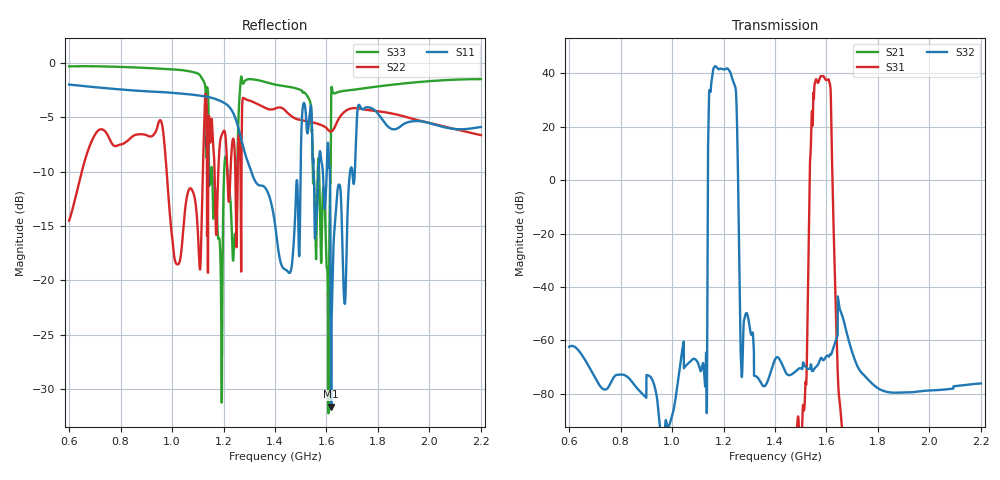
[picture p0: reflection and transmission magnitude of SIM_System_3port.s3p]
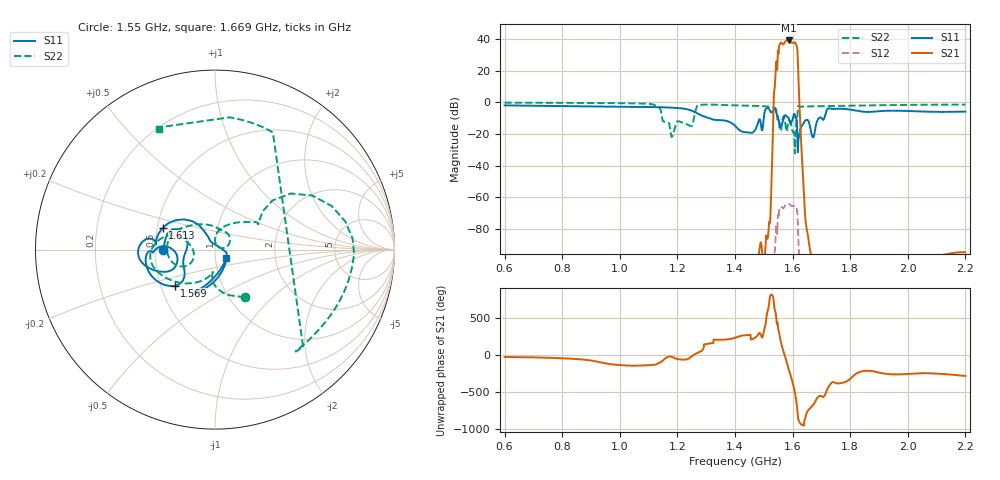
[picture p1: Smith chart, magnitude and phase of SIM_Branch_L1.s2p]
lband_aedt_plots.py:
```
"""Simulator-style plots of the L-band (L1 + L2/L5) results for the internal technical note.
Reads Touchstone/SIM_System_3port.s3p, SIM_Branch_*.s2p, Extracted_Data/results_sweep.csv and the
component Touchstone files; writes Images/lband_*.png.
"""
from pathlib import Path

import numpy as np
import skrf as rf

import models as M
import aedt_style as A

ROOT = Path(__file__).resolve().parent.parent
TS, IMG, XD = ROOT / "Touchstone", ROOT / "Images", ROOT / "Extracted_Data"
DESIGN = "FrontEnd_3port"
SETUP = "SP_0p6_2p2GHz : Sweep"


def db(x):
    return 20 * np.log10(np.abs(x) + 1e-30)


def main():
    s3 = rf.Network(str(TS / "SIM_System_3port.s3p"))
    f = s3.f / 1e9
    s = s3.s
    sw = np.genfromtxt(XD / "results_sweep.csv", delimiter=",", names=True)
    nf1, nf2 = sw["NF_L1_dB"], sw["NF_L2L5_dB"]
    gd1, gd2 = sw["GD_L1_ns"], sw["GD_L2L5_ns"]
    E = {"S31": "dB(S(P3_RF_OUT,P1_L1_RHCP))", "S32": "dB(S(P3_RF_OUT,P2_L2L5_RHCP))",
         "S11": "dB(S(P1_L1_RHCP,P1_L1_RHCP))", "S22": "dB(S(P2_L2L5_RHCP,P2_L2L5_RHCP))",
         "S33": "dB(S(P3_RF_OUT,P3_RF_OUT))", "S13": "dB(S(P1_L1_RHCP,P3_RF_OUT))",
         "S23": "dB(S(P2_L2L5_RHCP,P3_RF_OUT))", "S21": "dB(S(P2_L2L5_RHCP,P1_L1_RHCP))"}

    def tr(sel, i, j, key):
        return dict(x=f[sel], y=db(s[sel, i, j]), expr=E[key], setup=SETUP, short=key)

    b1 = (f >= 1.53) & (f <= 1.64)
    A.xy_plot(IMG / "lband_sparams_L1.png", "XY Plot 1 - L1 branch S-parameters", DESIGN,
              [tr(b1, 2, 0, "S31"), tr(b1, 0, 0, "S11"), tr(b1, 2, 2, "S33"), tr(b1, 0, 2, "S13")],
              ylabel="Y1 [dB]", markers=[("m1", 1.57542, 0), ("m2", 1.5611, 0), ("m3", 1.602, 0),
                                         ("m4", 1.57542, 1), ("m5", 1.57542, 2)], ylim=(-90, 50),
              spans=[(1.55905, 1.56315, ""), (1.5744, 1.5764, ""), (1.5975, 1.6059, "")])
    b2 = (f >= 1.13) & (f <= 1.28)
    A.xy_plot(IMG / "lband_sparams_L2L5.png", "XY Plot 2 - L2/L5 branch S-parameters", DESIGN,
              [tr(b2, 2, 1, "S32"), tr(b2, 1, 1, "S22"), tr(b2, 2, 2, "S33"), tr(b2, 1, 2, "S23")],
              ylabel="Y1 [dB]", markers=[("m1", 1.17645, 0), ("m2", 1.20714, 0), ("m3", 1.2276, 0),
                                         ("m4", 1.17645, 1), ("m5", 1.17645, 2)], ylim=(-90, 50),
              spans=[(1.16622, 1.18668, ""), (1.1971, 1.2171, ""), (1.22658, 1.22862, "")])
    A.xy_plot(IMG / "lband_wideband.png", "XY Plot 3 - Wide-band transmission", DESIGN,
              [dict(x=f, y=db(s[:, 2, 0]), expr=E["S31"], setup=SETUP, short="S31"),
               dict(x=f, y=db(s[:, 2, 1]), expr=E["S32"], setup=SETUP, short="S32"),
               dict(x=f, y=db(s[:, 1, 0]), expr=E["S21"], setup=SETUP, short="P1-P2")],
              ylabel="Y1 [dB]", markers=[("m1", 1.15, 1), ("m2", 1.621, 0), ("m3", 1.7475, 0), ("m4", 0.8975, 1)],
              ylim=(-160, 50))
    g1 = (f >= 1.55) & (f <= 1.615)
    g2 = (f >= 1.15) & (f <= 1.26)
    A.xy_plot(IMG / "lband_gain.png", "XY Plot 4 - Gain in the GNSS bands", DESIGN,
              [dict(x=f[g2], y=db(s[g2, 2, 1]), expr=E["S32"], setup=SETUP, short="S32"),
               dict(x=f[g1], y=db(s[g1, 2, 0]), expr=E["S31"], setup=SETUP, short="S31")],
              ylabel="Gain [dB]", markers=[("m1", 1.17645, 0), ("m2", 1.20714, 0), ("m3", 1.2276, 0),
                                           ("m4", 1.248, 0), ("m5", 1.5611, 1), ("m6", 1.57542, 1),
                                           ("m7", 1.602, 1)], ylim=(20, 50))
    A.xy_plot(IMG / "lband_nf.png", "XY Plot 5 - Noise figure", DESIGN,
              [dict(x=f[g2], y=nf2[g2], expr="NF(P3_RF_OUT,P2_L2L5_RHCP)", setup=SETUP, short="NF L2/L5"),
               dict(x=f[g1], y=nf1[g1], expr="NF(P3_RF_OUT,P1_L1_RHCP)", setup=SETUP, short="NF L1")],
              ylabel="NF [dB]", markers=[("m1", 1.17645, 0), ("m2", 1.2276, 0), ("m3", 1.57542, 1)], ylim=(0, 2))
    vs = lambda x: (1 + abs(x)) / (1 - abs(x))
    bb = (f >= 1.1) & (f <= 1.65)
    A.xy_plot(IMG / "lband_vswr.png", "XY Plot 6 - VSWR", DESIGN,
              [dict(x=f[bb], y=vs(s[bb, 0, 0]), expr="VSWR(P1_L1_RHCP)", setup=SETUP, short="P1"),
               dict(x=f[bb], y=vs(s[bb, 1, 1]), expr="VSWR(P2_L2L5_RHCP)", setup=SETUP, short="P2"),
               dict(x=f[bb], y=vs(s[bb, 2, 2]), expr="VSWR(P3_RF_OUT)", setup=SETUP, short="P3")],
              ylabel="VSWR", markers=[("m1", 1.57542, 0), ("m2", 1.17645, 1), ("m3", 1.20714, 1),
                                      ("m4", 1.57542, 2), ("m5", 1.17645, 2)], ylim=(1, 4))
    n1 = rf.Network(str(TS / "SIM_Branch_L1.s2p")); n2 = rf.Network(str(TS / "SIM_Branch_L2L5.s2p"))
    k1, mu1, _, _ = M.k_mu(n1); k2, mu2, _, _ = M.k_mu(n2)
    A.xy_plot(IMG / "lband_stability.png", "XY Plot 7 - Stability", DESIGN,
              [dict(x=n1.f / 1e9, y=mu1, expr="Mu1 (L1 branch)", setup=SETUP, short="Mu L1"),
               dict(x=n2.f / 1e9, y=mu2, expr="Mu1 (L2/L5 branch)", setup=SETUP, short="Mu L2/L5"),
               dict(x=n1.f / 1e9, y=np.clip(k1, 0, 50), expr="StabilityFactor K (L1 branch)", setup=SETUP, short="K L1")],
              ylabel="K, Mu", markers=[("m1", 1.57542, 0), ("m2", 1.17645, 1)], ylim=(0, 10), hlines=[(1, "= 1")])
    A.xy_plot(IMG / "lband_group_delay.png", "XY Plot 8 - Group delay", DESIGN,
              [dict(x=f[g2], y=gd2[g2], expr="GroupDelay(P3_RF_OUT,P2_L2L5_RHCP) [ns]", setup=SETUP, short="GD L2/L5"),
               dict(x=f[g1], y=gd1[g1], expr="GroupDelay(P3_RF_OUT,P1_L1_RHCP) [ns]", setup=SETUP, short="GD L1")],
              ylabel="Group delay [ns]", markers=[("m1", 1.17645, 0), ("m2", 1.2276, 0), ("m3", 1.57542, 1)],
              ylim=(0, 120))
    k0 = lambda fx: int(np.argmin(abs(f - fx)))
    rej1 = db(s[k0(1.57542), 2, 0]) - db(s[:, 2, 0])
    rej2 = db(s[k0(1.17645), 2, 1]) - db(s[:, 2, 1])
    A.xy_plot(IMG / "lband_rejection.png", "XY Plot 9 - Rejection (dBc)", DESIGN,
              [dict(x=f, y=-rej1, expr="S31 rel. 1575.42 MHz", setup=SETUP, short="L1"),
               dict(x=f, y=-rej2, expr="S32 rel. 1176.45 MHz", setup=SETUP, short="L2/L5")],
              ylabel="Rejection [dBc]", markers=[("m1", 1.15, 1), ("m2", 1.621, 0), ("m3", 0.8975, 1),
                                                ("m4", 1.7475, 0)], ylim=(-160, 5),
              hlines=[(-80, "practical limit ~60-80 dBc")],
              spans=[(0.96, 1.15, "DME"), (1.616, 1.6265, "Iridium"), (1.71, 1.785, "LTE B3 UL")])
    sm = (f >= 1.1) & (f <= 1.65)
    A.smith_plot(IMG / "lband_smith.png", "Smith Plot 1 - Port reflections", DESIGN,
                 [dict(g=s[sm, 0, 0], f=f[sm], expr="S(P1_L1_RHCP,P1_L1_RHCP)", setup=SETUP, short="S11"),
                  dict(g=s[sm, 1, 1], f=f[sm], expr="S(P2_L2L5_RHCP,P2_L2L5_RHCP)", setup=SETUP, short="S22"),
                  dict(g=s[sm, 2, 2], f=f[sm], expr="S(P3_RF_OUT,P3_RF_OUT)", setup=SETUP, short="S33")],
                 markers=[("m1", 1.57542, 0), ("m2", 1.17645, 1), ("m3", 1.57542, 2)])
    # component models
    for fn, title, rng, mks in (("B7504.s2p", "XY Plot 10 - B7504 model (S2P)", (1.4, 1.8), [1.5591, 1.57542, 1.6059]),
                                ("B8889_matched.s2p", "XY Plot 11 - B8889 model incl. 6.8 nH (S2P)", (1.0, 1.4),
                                 [1.16622, 1.20714, 1.22862])):
        n = rf.Network(str(TS / fn)); ff = n.f / 1e9; sel = (ff >= rng[0]) & (ff <= rng[1])
        A.xy_plot(IMG / f"lband_{fn.split('.')[0].lower()}.png", title, fn,
                  [dict(x=ff[sel], y=db(n.s[sel, 1, 0]), expr="dB(S(2,1))", setup="Touchstone model", short="S21"),
                   dict(x=ff[sel], y=db(n.s[sel, 0, 0]), expr="dB(S(1,1))", setup="Touchstone model", short="S11"),
                   dict(x=ff[sel], y=db(n.s[sel, 1, 1]), expr="dB(S(2,2))", setup="Touchstone model", short="S22")],
                  ylabel="dB", markers=[(f"m{i + 1}", x, 0) for i, x in enumerate(mks)], ylim=(-70, 2))
    n = rf.Network(str(TS / "DXP02A.s3p")); ff = n.f / 1e9
    A.xy_plot(IMG / "lband_dxp02a.png", "XY Plot 12 - DXP.02.A model (S3P)", "DXP02A.s3p",
              [dict(x=ff, y=db(n.s[:, 1, 0]), expr="dB(S(2,1)) common-L1", setup="Touchstone model", short="S21"),
               dict(x=ff, y=db(n.s[:, 2, 0]), expr="dB(S(3,1)) common-L2/L5", setup="Touchstone model", short="S31"),
               dict(x=ff, y=db(n.s[:, 2, 1]), expr="dB(S(3,2)) isolation", setup="Touchstone model", short="S32"),
               dict(x=ff, y=db(n.s[:, 0, 0]), expr="dB(S(1,1))", setup="Touchstone model", short="S11")],
              ylabel="dB", markers=[("m1", 1.58219, 0), ("m2", 1.20692, 1), ("m3", 1.57542, 2)], ylim=(-70, 2))
    n = rf.Network(str(TS / "HC125A.s4p")); ff = n.f / 1e9; sel = (ff >= 1.15) & (ff <= 1.63)
    A.xy_plot(IMG / "lband_hc125a.png", "XY Plot 13 - HC125A model (S4P)", "HC125A.s4p",
              [dict(x=ff[sel], y=db(n.s[sel, 3, 0]), expr="dB(S(4,1)) through", setup="Touchstone model", short="S41"),
               dict(x=ff[sel], y=db(n.s[sel, 2, 0]), expr="dB(S(3,1)) coupled", setup="Touchstone model", short="S31"),
               dict(x=ff[sel], y=db(n.s[sel, 1, 0]), expr="dB(S(2,1)) isolated", setup="Touchstone model", short="S21"),
               dict(x=ff[sel], y=db(n.s[sel, 0, 0]), expr="dB(S(1,1))", setup="Touchstone model", short="S11")],
              ylabel="dB", markers=[("m1", 1.17645, 0), ("m2", 1.57542, 0), ("m3", 1.57542, 2)], ylim=(-50, 0))


if __name__ == "__main__":
    main()
    print("L-band simulator-style plots written")
```
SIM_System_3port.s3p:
! Project 16: GNSS L1 + L2/L5 active antenna front end (RFMW-ANT)
! Generated by Scripts/simulate.py from Scripts/ds_data.py; format GHz / RI, Z0 = 50 ohm
! SIMULATED with scikit-rf (Scripts/simulate.py). Port 1 = L1 virtual RHCP input, port 2 =
! L2/L5 virtual RHCP input, port 3 = RF output. LNAs biased, 5 V.
# GHz S RI R 50.0
! Port[1] = P1_L1_RHCP
! Port[2] = P2_L2L5_RHCP
! Port[3] = P3_RF_OUT
!freq ReS11 ImS11 ReS12 ImS12 ReS13 ImS13
! ReS21 ImS21 ReS22 ImS22 ReS23 ImS23
! ReS31 ImS31 ReS32 ImS32 ReS33 ImS33
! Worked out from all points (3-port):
!   3201 points, 600 MHz to 2.2 GHz, reference 50 ohm
!   strongest paths, dB at 600 MHz, 1 GHz, 1.4 GHz, 1.8 GHz, 2.2 GHz:
!     S32: -62.4, -88.3, -67.2, -77.9, -76.1
!     S31: -128.5, -120.8, -116.4, -113.4, -95.1
!     S21: -, -, -, -, -
!   lowest |S11| = -31.6 dB at 1.619 GHz (marker M1), VSWR 1.05, Z = 52 + j1.76 ohm
!   |S11| at or under -10 dB: 1.308 GHz to 1.499 GHz (191.7 MHz wide, 13.7 % of centre); 1.55 GHz to 1.569 GHz (19.36 MHz wide, 1.24 % of centre); 1.613 GHz to 1.692 GHz (78.86 MHz wide, 4.77 % of centre)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
0.6  0.6687 0.4285  -7.81e-14 9.62e-14  -3.05e-13 -3.65e-13
     -7.81e-14 9.62e-14  -0.146 0.1185  -6.83e-10 -6.76e-10
     -9.4e-08 3.65e-07  -0.00012 0.00075  -0.025 0.9628
1.1775  0.1441 -0.6602  1.54e-10 9.05e-11  -3.9e-13 1.28e-13
        1.54e-10 9.05e-11  0.1337 -0.2277  8.42e-05 -0.000413
        9.58e-08 -7.37e-08  16.85 122.7  -0.0803 0.1431
1.1975  0.1387 -0.6444  -6.6e-12 -9.44e-11  -4.03e-13 9.22e-14
        -6.6e-12 -9.44e-11  0.036 -0.4775  -0.000139 0.000398
        9.7e-08 -6.6e-08  -4.282 -119.6  -0.1379 0.0881
1.6185  0.0201 0.0169  2.38e-08 3.41e-09  -6.04e-05 9.23e-05
        2.38e-08 3.41e-09  -0.386 -0.291  3.91e-09 -1.09e-10
        -6.622 -14.01  -0.000274 0.000476  0.65 0.2432
2.2  -0.1527 0.4833  1.48e-12 3.25e-13  2.74e-10 -3.24e-11
     1.48e-12 3.25e-13  -0.1833 0.4276  2.44e-09 -2.14e-10
     3.96e-06 1.72e-05  3.06e-05 0.000154  -0.4405 0.7172
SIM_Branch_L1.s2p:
! Project 16: GNSS L1 + L2/L5 active antenna front end (RFMW-ANT)
! Generated by Scripts/simulate.py from Scripts/ds_data.py; format GHz / RI, Z0 = 50 ohm
! SIMULATED branch: L1 virtual RHCP input -> RF out (L2/L5 port of DXP in 50 ohm)
# GHz S RI R 50.0
!freq ReS11 ImS11 ReS21 ImS21 ReS12 ImS12 ReS22 ImS22
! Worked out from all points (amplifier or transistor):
!   3201 points, 600 MHz to 2.2 GHz, reference 50 ohm
!   highest |S21| = 39.0 dB at 1.586 GHz (marker M1)
!   |S21| within 3 dB of that: 1.554 GHz to 1.613 GHz (59.43 MHz wide, 3.75 % of centre)
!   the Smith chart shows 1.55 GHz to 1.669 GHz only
!   S11 on the Smith chart (normalised r, x): 1.55 GHz: 0.55, -0.00; 1.569 GHz: 0.59, -0.26; 1.613 GHz: 0.54, +0.15; 1.669 GHz: 1.13, -0.11
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0.6  0.6687 0.4285  2.48e-07 -1.48e-07  -5.56e-10 1.68e-10  -0.0213 0.9658
1.4  0.1542 -0.0954  -9.9e-07 -1.12e-06  7.55e-12 8.54e-12  0.1965 -0.7697
1.5505  -0.2923 -0.00379  29.27 -16.8  -0.000199 -8.78e-05  0.1661 -0.2643
1.561  -0.1761 -0.0854  -62.39 44.47  0.000475 0.000163  -0.0292 -0.1453
1.5685  -0.2254 -0.2018  49.49 46.71  6.5e-05 -0.000446  -0.3553 -0.0719
1.578  -0.3689 -0.0105  12.85 -87.82  -0.000536 0.000262  -0.132 0.0165
1.586  -0.3137 0.0131  -89.05 8.251  0.000383 0.000472  -0.2475 -0.0589
1.598  -0.2325 -0.1076  73.11 18.95  -0.000165 -0.000495  -0.0365 0.1378
1.613  -0.2911 0.1222  -7.644 63.86  0.000411 -0.000193  0.1777 0.1543
1.669  0.064 -0.0492  9.47e-06 7.28e-06  1.3e-11 -8.7e-11  -0.3143 0.6734
2.2  -0.1527 0.4833  4.68e-06 1.76e-05  2.77e-10 -3.8e-11  -0.4392 0.7175
